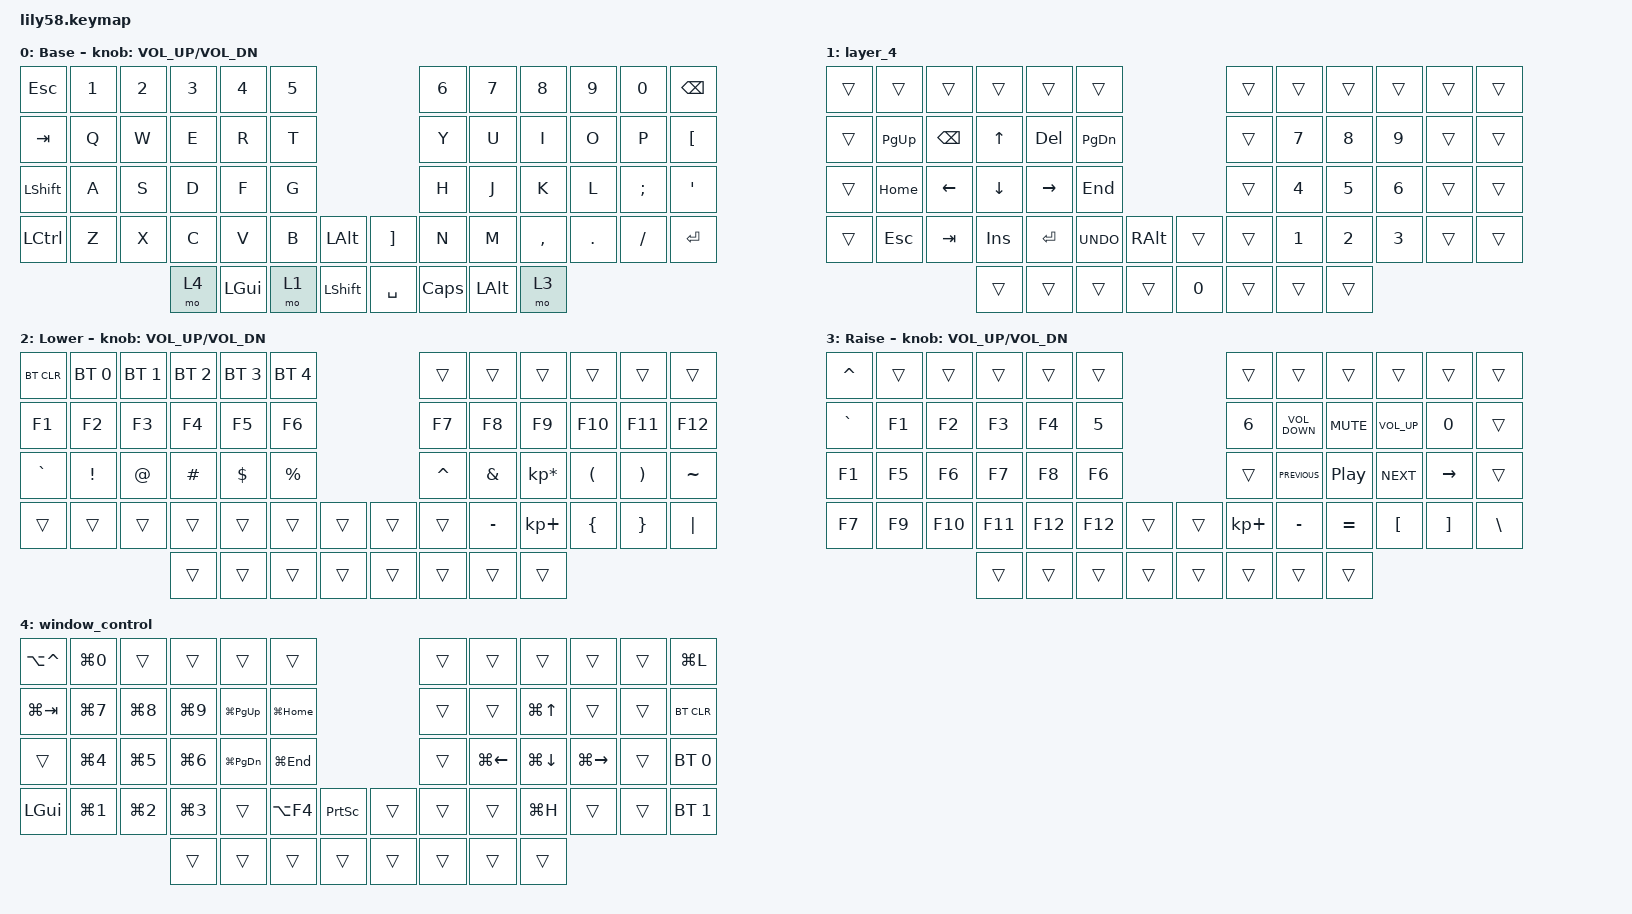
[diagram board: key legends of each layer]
/*
 * Copyright (c) 2020 The ZMK Contributors
 *
 * SPDX-License-Identifier: MIT
 */

#include <behaviors.dtsi>
#include <dt-bindings/zmk/bt.h>
#include <dt-bindings/zmk/keys.h>

/ {
    keymap {
        compatible = "zmk,keymap";

        default_layer {
            // ------------------------------------------------------------------------------------------------------------
            // |  ESC  |  1  |  2  |  3   |  4   |  5   |                   |  6   |  7    |  8    |  9   |   0   |   `   |
            // |  TAB  |  Q  |  W  |  E   |  R   |  T   |                   |  Y   |  U    |  I    |  O   |   P   |   -   |
            // |  CTRL |  A  |  S  |  D   |  F   |  G   |                   |  H   |  J    |  K    |  L   |   ;   |   '   |
            // | SHIFT |  Z  |  X  |  C   |  V   |  B   |   "["  |  |  "]"  |  N   |  M    |  ,    |  .   |   /   | SHIFT |
            //                     | ALT  | GUI  | LOWER|  SPACE |  | ENTER | RAISE| BSPC  | GUI   |

            display-name = "Base";
            bindings = <
&kp ESC           &kp N1  &kp N2  &kp N3  &kp N4    &kp N5                             &kp N6        &kp N7        &kp N8     &kp N9   &kp N0    &kp BACKSPACE
&kp TAB           &kp Q   &kp W   &kp E   &kp R     &kp T                              &kp Y         &kp U         &kp I      &kp O    &kp P     &kp LBKT
&kp LEFT_SHIFT    &kp A   &kp S   &kp D   &kp F     &kp G                              &kp H         &kp J         &kp K      &kp L    &kp SEMI  &kp SQT
&kp LEFT_CONTROL  &kp Z   &kp X   &kp C   &kp V     &kp B   &kp LEFT_ALT    &kp RBKT   &kp N         &kp M         &kp COMMA  &kp DOT  &kp FSLH  &kp ENTER
                                  &mo 4   &kp LGUI  &mo 1   &kp LSHIFT      &kp SPACE  &kp CAPSLOCK  &kp LEFT_ALT  &mo 3
            >;

            sensor-bindings = <&inc_dec_kp C_VOL_UP C_VOL_DN>;
        };

        layer_4 {
            bindings = <
&trans  &trans       &trans         &trans      &trans      &trans                                        &trans  &trans        &trans        &trans        &trans  &trans
&trans  &kp PAGE_UP  &kp BACKSPACE  &kp UP      &kp DELETE  &kp PAGE_DOWN                                 &trans  &kp N7        &kp NUMBER_8  &kp NUMBER_9  &trans  &trans
&trans  &kp HOME     &kp LEFT       &kp DOWN    &kp RIGHT   &kp END                                       &trans  &kp NUMBER_4  &kp NUMBER_5  &kp NUMBER_6  &trans  &trans
&trans  &kp ESCAPE   &kp TAB        &kp INSERT  &kp RETURN  &kp K_UNDO     &kp RIGHT_ALT    &trans        &trans  &kp NUMBER_1  &kp NUMBER_2  &kp NUMBER_3  &trans  &trans
                                    &trans      &trans      &trans         &trans           &kp NUMBER_0  &trans  &trans        &trans
            >;
        };

        lower_layer {
            // ------------------------------------------------------------------------------------------------------------
            // | BTCLR | BT1 | BT2 |  BT3 |  BT4 |  BT5 |                   |      |       |       |      |       |       |
            // |  F1   |  F2 |  F3 |  F4  |  F5  |  F6  |                   |  F7  |  F8   |  F9   |  F10 |  F11  |  F12  |
            // |   `   |  !  |  @  |  #   |  $   |  %   |                   |  ^   |  &    |  *    |  (   |   )   |   ~   |
            // |       |     |     |      |      |      |        |  |       |      |  _    |  +    |  {   |   }   |  "|"  |
            //                     |      |      |      |        |  |       |      |       |       |

            display-name = "Lower";
            bindings = <
&bt BT_CLR  &bt BT_SEL 0  &bt BT_SEL 1  &bt BT_SEL 2  &bt BT_SEL 3  &bt BT_SEL 4                    &trans     &trans     &trans           &trans    &trans    &trans
&kp F1      &kp F2        &kp F3        &kp F4        &kp F5        &kp F6                          &kp F7     &kp F8     &kp F9           &kp F10   &kp F11   &kp F12
&kp GRAVE   &kp EXCL      &kp AT        &kp HASH      &kp DOLLAR    &kp PRCNT                       &kp CARET  &kp AMPS   &kp KP_MULTIPLY  &kp LPAR  &kp RPAR  &kp TILDE
&trans      &trans        &trans        &trans        &trans        &trans        &trans    &trans  &trans     &kp MINUS  &kp KP_PLUS      &kp LBRC  &kp RBRC  &kp PIPE
                                        &trans        &trans        &trans        &trans    &trans  &trans     &trans     &trans
            >;

            sensor-bindings = <&inc_dec_kp C_VOL_UP C_VOL_DN>;
        };

        raise_layer {
            // ------------------------------------------------------------------------------------------------------------
            // |       |     |     |      |      |      |                   |      |       |       |      |       |       |
            // |   `   |  1  |  2  |  3   |  4   |  5   |                   |  6   |   7   |   8   |  9   |   0   |       |
            // |   F1  |  F2 |  F3 |  F4  |  F5  |  F6  |                   |      |   <-  |   v   |  ^   |  ->   |       |
            // |   F7  |  F8 |  F9 |  F10 |  F11 |  F12 |        |  |       |  +   |   -   |   =   |  [   |   ]   |   \   |
            //                     |      |      |      |        |  |       |      |       |       |

            display-name = "Raise";
            bindings = <
&kp CARET  &trans  &trans   &trans   &trans   &trans                     &trans       &trans             &trans      &trans           &trans     &trans
&kp GRAVE  &kp F1  &kp F2   &kp F3   &kp F4   &kp N5                     &kp N6       &kp C_VOLUME_DOWN  &kp K_MUTE  &kp C_VOLUME_UP  &kp N0     &trans
&kp F1     &kp F5  &kp F6   &kp F7   &kp F8   &kp F6                     &trans       &kp C_PREVIOUS     &kp C_PP    &kp C_NEXT       &kp RIGHT  &trans
&kp F7     &kp F9  &kp F10  &kp F11  &kp F12  &kp F12  &trans    &trans  &kp KP_PLUS  &kp MINUS          &kp EQUAL   &kp LBKT         &kp RBKT   &kp BSLH
                            &trans   &trans   &trans   &trans    &trans  &trans       &trans             &trans
            >;

            sensor-bindings = <&inc_dec_kp C_VOL_UP C_VOL_DN>;
        };

        window_control {
            bindings = <
&kp LA(CARET)  &kp LG(NUMBER_0)  &trans            &trans            &trans             &trans                                   &trans  &trans              &trans              &trans               &trans  &kp LG(L)
&kp LG(TAB)    &kp LG(NUMBER_7)  &kp LG(NUMBER_8)  &kp LG(NUMBER_9)  &kp LG(PAGE_UP)    &kp LG(HOME)                             &trans  &trans              &kp LG(UP_ARROW)    &trans               &trans  &bt BT_CLR
&trans         &kp LG(NUMBER_4)  &kp LG(NUMBER_5)  &kp LG(NUMBER_6)  &kp LG(PAGE_DOWN)  &kp LG(END)                              &trans  &kp LG(LEFT_ARROW)  &kp LG(DOWN_ARROW)  &kp LG(RIGHT_ARROW)  &trans  &bt BT_SEL 0
&kp LEFT_GUI   &kp LG(NUMBER_1)  &kp LG(NUMBER_2)  &kp LG(NUMBER_3)  &trans             &kp LA(F4)    &kp PRINTSCREEN    &trans  &trans  &trans              &kp LG(H)           &trans               &trans  &bt BT_SEL 1
                                                   &trans            &trans             &trans        &trans             &trans  &trans  &trans              &trans
            >;
        };
    };
};
